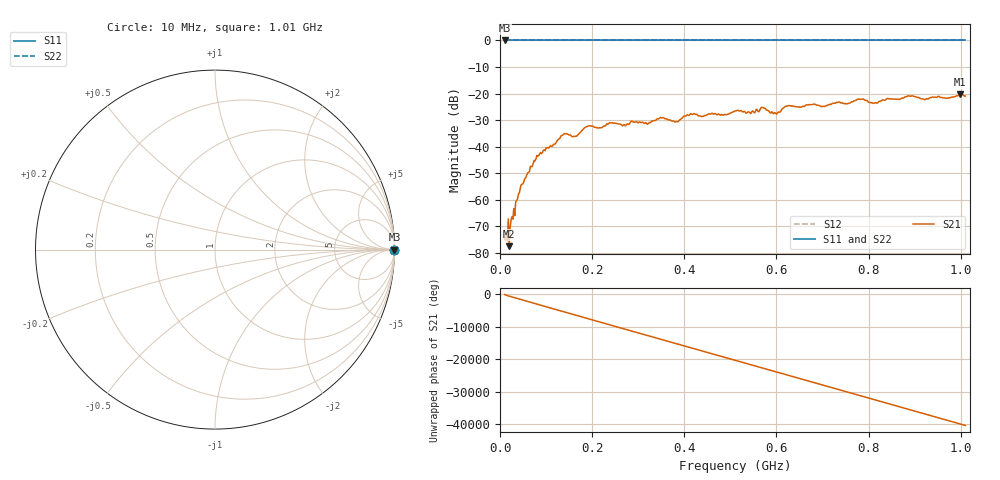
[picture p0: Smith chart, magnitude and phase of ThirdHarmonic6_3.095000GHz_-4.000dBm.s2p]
! 8/17/2025 9:06:46 AM
! C:\ANRITSUVNA\TEMP\TEMP.S2P
! CHANNEL.1
! TR.MEASUREMENT
! RAW.DATA
! RF.CORRECTION.OFF
! AVERAGING.OFF
! IF.BANDWIDTH: 5KHZ
! SWEEPTYPE:  FREQ.SWEEP(Linear)
! Reference Plane Port Info
! PORT:  PORT1  PORT2
! DISTANCE:  0  m  0  m
! TIME:  0  s  0  s
! PHASE.OFFSET:  0  deg.  0  deg.
! LOSS:  0  dB  0  dB
! REF.LOSS:  0  dB  0  dB
! REF.FREQ:  0  Hz  0  Hz
! Power Info
! POWER:  -20  dBm  -20  dBm
! EFF.POWER:  -20  dBm  -20  dBm
! SOURCE.ATTEN:  0  dB  0  dB
! TEST.ATTEN:  0  dB  0  dB
# GHZ S RI R 50.0
! FREQ.GHZ  S11RE  S11IM  S21RE  S21IM  S12RE  S12IM  S22RE  S22IM
!; PortSelection: Port_12
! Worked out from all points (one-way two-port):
!   501 points, 10 MHz to 1.01 GHz, reference 50 ohm
!   highest |S21| = -20.32 dB at 998 MHz (marker M1); lowest = -77.4 dB at 20 MHz (marker M2)
!   lowest |S11| = 0.0 dB at 10 MHz (marker M3)
!   |S11| at or under -10 dB: nowhere
!   |S22| runs from 0.0 to 0.0 dB; largest |S21 - S12| = 1.1
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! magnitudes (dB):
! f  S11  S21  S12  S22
! 10 MHz  0.0  -74.6  0.0  0.0
! 20 MHz  0.0  -77.4  0.0  0.0
! 44 MHz  0.0  -55.6  0.0  0.0
! 78 MHz  0.0  -44.6  0.0  0.0
! 136 MHz  0.0  -35.7  0.0  0.0
! 162 MHz  0.0  -36.1  0.0  0.0
! 178 MHz  0.0  -33.9  0.0  0.0
! 192 MHz  0.0  -32.2  0.0  0.0
! 322 MHz  0.0  -31.2  0.0  0.0
! 344 MHz  0.0  -29.6  0.0  0.0
! 382 MHz  0.0  -30.6  0.0  0.0
! 416 MHz  0.0  -27.8  0.0  0.0
! 510 MHz  0.0  -26.5  0.0  0.0
! 570 MHz  0.0  -25.2  0.0  0.0
! 598 MHz  0.0  -27.3  0.0  0.0
! 624 MHz  0.0  -24.6  0.0  0.0
! 678 MHz  0.0  -24.1  0.0  0.0
! 784 MHz  0.0  -22.2  0.0  0.0
! 814 MHz  0.0  -23.5  0.0  0.0
! 844 MHz  0.0  -21.9  0.0  0.0
! 998 MHz  0.0  -20.3  0.0  0.0
! 1.01 GHz  0.0  -20.9  0.0  0.0
